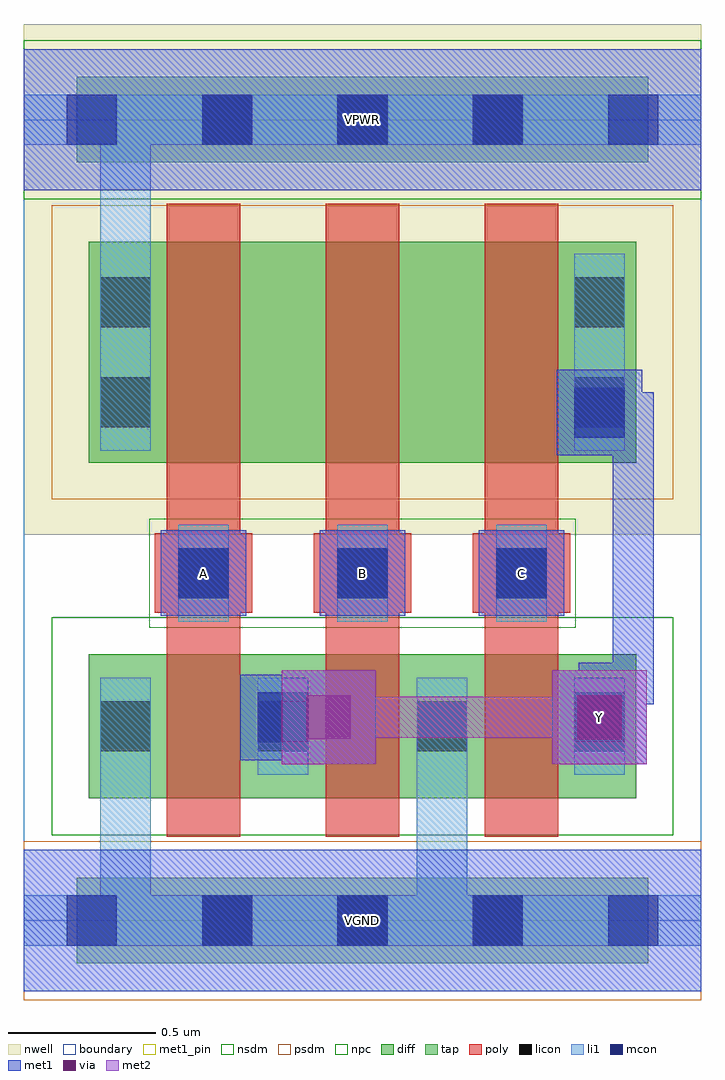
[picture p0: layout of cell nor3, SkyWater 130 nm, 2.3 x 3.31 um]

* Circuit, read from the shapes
.subckt nor3 A B C VGND VPWR Y
XM1 Y A VGND VGND sky130_fd_pr__nfet_01v8 w=0.49 l=0.25
XM2 VGND B Y VGND sky130_fd_pr__nfet_01v8 w=0.49 l=0.25
XM3 Y C VGND VGND sky130_fd_pr__nfet_01v8 w=0.49 l=0.25
XM4 n1 A VPWR VPWR sky130_fd_pr__pfet_01v8 w=0.75 l=0.25
XM5 n2 B n1 VPWR sky130_fd_pr__pfet_01v8 w=0.75 l=0.25
XM6 Y C n2 VPWR sky130_fd_pr__pfet_01v8 w=0.75 l=0.25
.ends

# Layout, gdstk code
import gdstk
lib = gdstk.Library(unit=1e-6, precision=1e-09)
def R(c, l, rs):  # rectangles x0, y0, x1, y1
    for r in rs: c.add(gdstk.rectangle(r[:2], r[2:], *l))
def A(c, l, x, y, w, h, nx, ny, dx, dy):  # array of equal rectangles
    R(c, l, [(x+i*dx, y+j*dy, x+i*dx+w, y+j*dy+h) for i in range(nx) for j in range(ny)])
nwell = (64, 20)
diff = (65, 20)
tap = (65, 44)
poly = (66, 20)
licon = (66, 44)
li1 = (67, 20)
mcon = (67, 44)
met1_pin = (68, 16)
met1 = (68, 20)
via = (68, 44)
met2 = (69, 20)
nsdm = (93, 44)
psdm = (94, 20)
npc = (95, 20)
boundary = (235, 4)

nor3 = lib.new_cell('nor3')
R(nor3, nwell, [(0,1.31,2.3,3.045)])
R(nor3, diff, [(0.22,0.415,2.08,0.905), (0.22,1.555,2.08,2.305)])
R(nor3, tap, [(0.18,-0.145,2.12,0.145), (0.18,2.575,2.12,2.865)])
A(nor3, poly, 0.485, 0.285, 0.25, 2.15, 3, 1, 0.54, 0)
A(nor3, poly, 0.445, 1.045, 0.33, 0.27, 3, 1, 0.54, 0)
A(nor3, licon, 0.605, -0.085, 0.17, 0.17, 3, 2, 0.46, 2.72)
A(nor3, licon, 0.525, 1.095, 0.17, 0.17, 3, 1, 0.54, 0)
R(nor3, licon, [(0.26,0.575,0.43,0.745), (0.795,0.575,0.965,0.745), (1.335,0.575,1.505,0.745), (1.87,0.575,2.04,0.745), (0.26,1.675,0.43,1.845), (1.87,1.675,2.04,1.845), (0.26,2.015,0.43,2.185), (1.87,2.015,2.04,2.185)])
A(nor3, li1, 0.525, 1.015, 0.17, 0.33, 3, 1, 0.54, 0)
R(nor3, li1, [(0,-0.085,2.3,0.085), (0.26,-0.085,0.43,0.825), (1.335,-0.085,1.505,0.825), (0.26,0.495,0.43,0.825), (0.795,0.495,0.965,0.825), (1.335,0.495,1.505,0.825), (1.87,0.495,2.04,0.825), (0.26,1.595,0.43,2.265), (0.26,1.595,0.43,2.805), (1.87,1.595,2.04,2.265), (0,2.635,2.3,2.805)])
A(nor3, mcon, 0.145, -0.085, 0.17, 0.17, 5, 2, 0.46, 2.72)
A(nor3, mcon, 0.525, 1.095, 0.17, 0.17, 3, 1, 0.54, 0)
R(nor3, mcon, [(0.795,0.605,0.965,0.775), (1.87,0.605,2.04,0.775), (1.87,1.64,2.04,1.81)])
A(nor3, met1_pin, 0.465, 1.035, 0.29, 0.29, 3, 1, 0.54, 0)
R(nor3, met1_pin, [(0,-0.24,2.3,0.24), (1.795,0.53,2.115,0.85), (0,2.48,2.3,2.96)])
A(nor3, met1, 0.465, 1.035, 0.29, 0.29, 3, 1, 0.54, 0)
R(nor3, met1, [(0,-0.24,2.3,0.24), (0.875,0.53,1.195,0.85), (1.795,0.53,2.115,0.85), (0.735,0.545,1.025,0.835), (1.81,0.545,2.1,0.835), (0.81,0.62,1.105,0.76), (1.885,0.62,2.025,0.875), (1.885,0.735,2.14,0.875), (2,0.735,2.14,1.795), (1.81,1.58,2.1,1.87), (1.885,1.655,2.14,1.795), (0,2.48,2.3,2.96)])
R(nor3, via, [(0.96,0.615,1.11,0.765), (1.88,0.615,2.03,0.765)])
R(nor3, met2, [(0.875,0.53,1.195,0.85), (1.795,0.53,2.115,0.85), (0.965,0.62,2.025,0.76)])
R(nor3, nsdm, [(0.095,0.29,2.205,1.03), (0,2.45,2.3,2.99)])
R(nor3, psdm, [(0,-0.27,2.3,0.27), (0.095,1.43,2.205,2.43)])
R(nor3, npc, [(0.425,0.995,1.875,1.365)])
R(nor3, boundary, [(0,0,2.3,2.72)])
nor3.add(gdstk.Label('A', (0.61,1.18), layer=68, texttype=5))
nor3.add(gdstk.Label('B', (1.15,1.18), layer=68, texttype=5))
nor3.add(gdstk.Label('C', (1.69,1.18), layer=68, texttype=5))
nor3.add(gdstk.Label('Y', (1.955,0.69), layer=68, texttype=5))
nor3.add(gdstk.Label('VPWR', (1.15,2.72), layer=68, texttype=5))
nor3.add(gdstk.Label('VGND', (1.15,0), layer=68, texttype=5))
nor3.add(gdstk.Label('A', (0.61,1.18), layer=68, texttype=16))
nor3.add(gdstk.Label('B', (1.15,1.18), layer=68, texttype=16))
nor3.add(gdstk.Label('C', (1.69,1.18), layer=68, texttype=16))
nor3.add(gdstk.Label('Y', (1.955,0.69), layer=68, texttype=16))
nor3.add(gdstk.Label('VPWR', (1.15,2.72), layer=68, texttype=16))
nor3.add(gdstk.Label('VGND', (1.15,0), layer=68, texttype=16))

lib.write_gds('nor3.gds')
